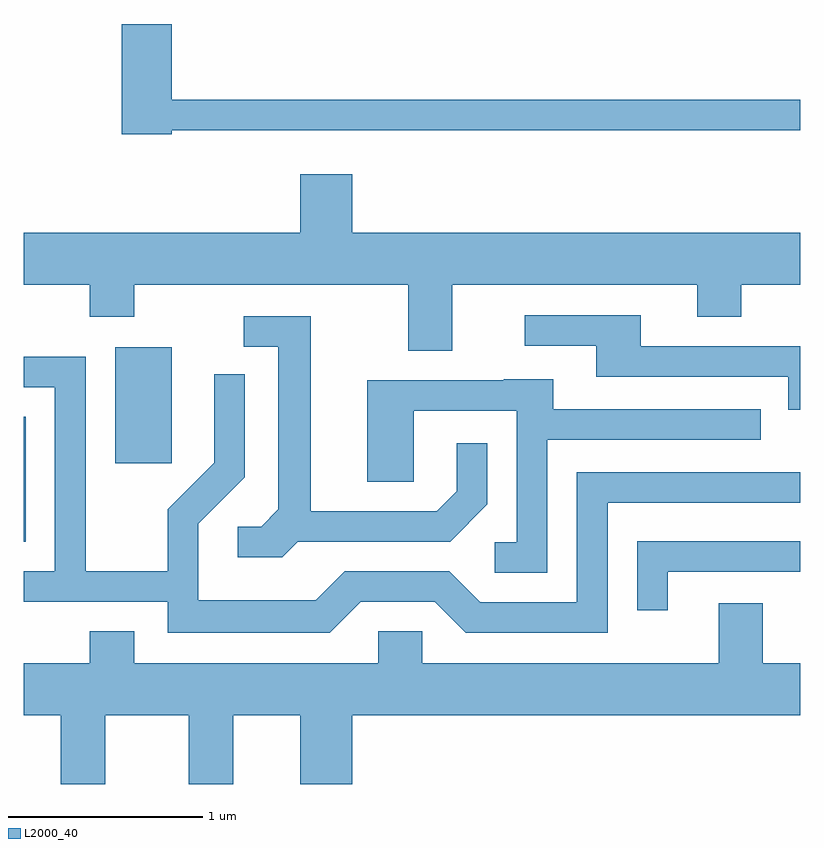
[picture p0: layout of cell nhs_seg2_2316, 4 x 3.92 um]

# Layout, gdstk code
import gdstk
lib = gdstk.Library(unit=1e-6, precision=1e-09)
def R(c, l, rs):  # rectangles x0, y0, x1, y1
    for r in rs: c.add(gdstk.rectangle(r[:2], r[2:], *l))
def P(c, l, *ps):  # polygons
    for p in ps: c.add(gdstk.Polygon(p, *l))
L2000_40 = (2000, 40)

nhs_seg2_2316 = lib.new_cell('nhs_seg2_2316')
R(nhs_seg2_2316, L2000_40, [(253.611,987.051,253.619,987.694), (254.081,987.456,254.374,988.054)])
P(nhs_seg2_2316, L2000_40, [(254.374,989.171),(257.611,989.171),(257.611,989.329),(254.374,989.329),(254.374,989.719),(254.116,989.719),(254.116,989.151),(254.374,989.151)],
  [(255.819,988.376),(257.081,988.376),(257.081,988.211),(257.309,988.211),(257.309,988.376),(257.611,988.376),(257.611,988.644),(255.304,988.644),(255.304,988.944),(255.036,988.944),(255.036,988.644),(253.611,988.644),(253.611,988.376),(253.951,988.376),(253.951,988.211),(254.179,988.211),(254.179,988.376),(255.591,988.376),(255.591,988.036),(255.819,988.036)],
  [(257.611,988.059),(256.789,988.059),(256.789,988.219),(256.193,988.219),(256.193,988.061),(256.561,988.061),(256.561,987.901),(257.551,987.901),(257.551,987.731),(257.611,987.731)],
  [(255.022,987.051),(255.807,987.051),(255.999,987.244),(255.999,987.558),(255.841,987.558),(255.841,987.312),(255.739,987.209),(255.089,987.209),(255.089,988.214),(254.743,988.214),(254.743,988.056),(254.921,988.056),(254.921,987.217),(254.834,987.129),(254.713,987.129),(254.713,986.971),(254.942,986.971)],
  [(255.347,986.741),(255.729,986.741),(255.889,986.581),(256.619,986.581),(256.619,987.251),(257.611,987.251),(257.611,987.409),(256.461,987.409),(256.461,986.739),(255.962,986.739),(255.802,986.899),(255.264,986.899),(255.114,986.749),(254.509,986.749),(254.509,987.144),(254.749,987.384),(254.749,987.913),(254.591,987.913),(254.591,987.457),(254.351,987.217),(254.351,986.899),(253.929,986.899),(253.929,988.004),(253.611,988.004),(253.611,987.846),(253.771,987.846),(253.771,986.899),(253.611,986.899),(253.611,986.741),(254.351,986.741),(254.351,986.581),(255.187,986.581)],
  [(256.309,987.576),(257.408,987.576),(257.408,987.734),(256.339,987.734),(256.339,987.889),(256.085,987.889),(256.085,987.884),(255.381,987.884),(255.381,987.361),(255.619,987.361),(255.619,987.726),(256.151,987.726),(256.151,987.049),(256.038,987.049),(256.038,986.891),(256.309,986.891)],
  [(256.929,986.896),(257.611,986.896),(257.611,987.054),(256.771,987.054),(256.771,986.698),(256.929,986.698)],
  [(254.029,986.156),(254.461,986.156),(254.461,985.802),(254.689,985.802),(254.689,986.156),(255.036,986.156),(255.036,985.802),(255.304,985.802),(255.304,986.156),(257.611,986.156),(257.611,986.424),(257.419,986.424),(257.419,986.734),(257.191,986.734),(257.191,986.424),(255.664,986.424),(255.664,986.589),(255.436,986.589),(255.436,986.424),(254.179,986.424),(254.179,986.589),(253.951,986.589),(253.951,986.424),(253.611,986.424),(253.611,986.156),(253.801,986.156),(253.801,985.802),(254.029,985.802)])

lib.write_gds('nhs_seg2_2316.gds')
